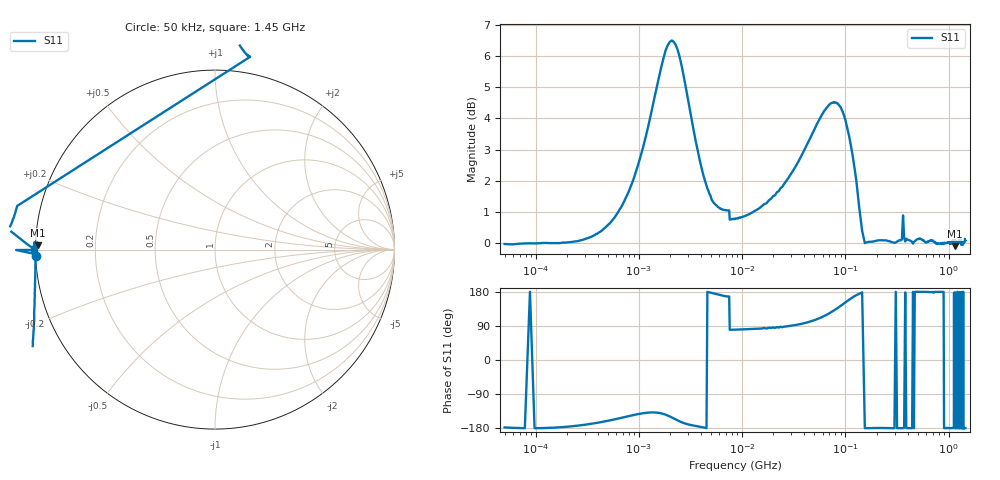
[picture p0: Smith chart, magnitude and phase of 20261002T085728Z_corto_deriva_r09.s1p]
! piloto_deriva / corto_deriva / r09
# HZ S RI R 50
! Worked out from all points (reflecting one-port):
!   501 points, 50 kHz to 1.45 GHz, reference 50 ohm
!   lowest |S11| = -0.1 dB at 1.157 GHz (marker M1), VSWR 178.37, Z = 0.28 + j0.607 ohm
!   phase of S11 starts at -178 deg and turns -2 deg over the sweep
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50000  -0.996 -0.0368
183000  -1.001 -0.0526
373000  -1.003 -0.2325
658000  -1.015 -0.5107
1180000  -1.133 -0.9758
1630000  -1.47 -1.211
1990000  -1.803 -1.083
2440000  -1.902 -0.646
3070000  -1.634 -0.2704
4330000  -1.263 -0.03
7300000  -1.102 0.2433
7750000  0.1948 1.073
8560000  0.188 1.078
2.26e7  0.097 1.208
3.16e7  -0.0338 1.312
4.69e7  -0.323 1.453
5.77e7  -0.5942 1.479
6.76e7  -0.8609 1.419
8.02e7  -1.158 1.219
9.46e7  -1.363 0.8757
9.82e7  -1.385 0.7827
1e8  -1.391 0.7375
1.18e8  -1.333 0.3376
1.36e8  -1.135 0.1
1.63e8  -1.004 -0.00422
4.06e8  -1.012 -0.0023
1.1575e9  -0.9886 0.024
1.45e9  -1.01 -0.00288
